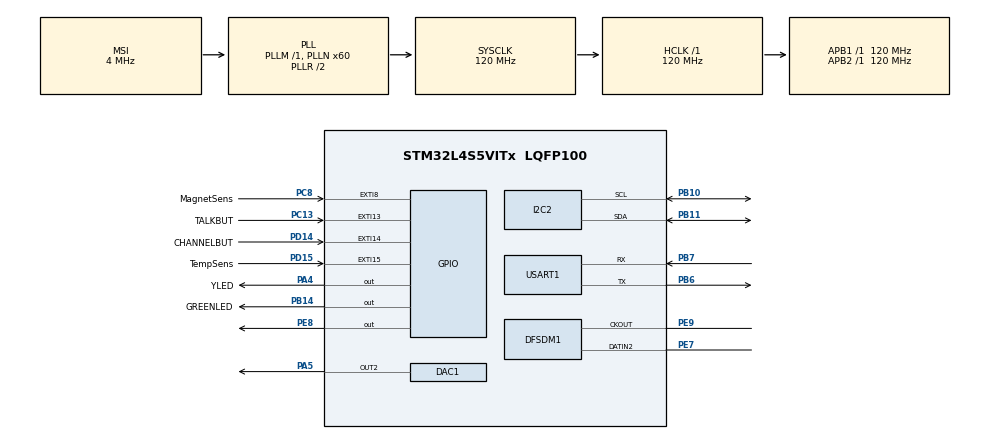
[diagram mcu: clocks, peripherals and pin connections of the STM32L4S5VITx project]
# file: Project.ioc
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DAC1.DAC_Channel-DAC_OUT2=DAC_CHANNEL_2
DAC1.DAC_Trigger-DAC_OUT2=DAC_TRIGGER_T2_TRGO
DFSDM1.Divider=48
DFSDM1.DmaMode_reg_FIL0=ENABLE
DFSDM1.FastMode_reg_FIL0=ENABLE
DFSDM1.Filter_regChannel_FIL0=DFSDM_CHANNEL_2
DFSDM1.Fosr_FIL0=100
DFSDM1.SincOrder_FIL0=DFSDM_FILTER_SINC3_ORDER
Dma.DAC1_CH2.1.Direction=DMA_MEMORY_TO_PERIPH
Dma.DAC1_CH2.1.EventEnable=DISABLE
Dma.DAC1_CH2.1.Instance=DMA1_Channel1
Dma.DAC1_CH2.1.MemDataAlignment=DMA_MDATAALIGN_WORD
Dma.DAC1_CH2.1.MemInc=DMA_MINC_ENABLE
Dma.DAC1_CH2.1.Mode=DMA_NORMAL
Dma.DAC1_CH2.1.PeriphDataAlignment=DMA_PDATAALIGN_WORD
Dma.DAC1_CH2.1.PeriphInc=DMA_PINC_DISABLE
Dma.DAC1_CH2.1.Polarity=HAL_DMAMUX_REQUEST_GEN_RISING
Dma.DAC1_CH2.1.Priority=DMA_PRIORITY_LOW
Dma.DAC1_CH2.1.RequestNumber=1
Dma.DAC1_CH2.1.SignalID=NONE
Dma.DAC1_CH2.1.SyncEnable=DISABLE
Dma.DAC1_CH2.1.SyncPolarity=HAL_DMAMUX_SYNC_NO_EVENT
Dma.DAC1_CH2.1.SyncRequestNumber=1
Dma.DAC1_CH2.1.SyncSignalID=NONE
Dma.DFSDM1_FLT0.0.Direction=DMA_PERIPH_TO_MEMORY
Dma.DFSDM1_FLT0.0.EventEnable=DISABLE
Dma.DFSDM1_FLT0.0.Instance=DMA1_Channel2
Dma.DFSDM1_FLT0.0.MemDataAlignment=DMA_MDATAALIGN_WORD
Dma.DFSDM1_FLT0.0.MemInc=DMA_MINC_ENABLE
Dma.DFSDM1_FLT0.0.Mode=DMA_NORMAL
Dma.DFSDM1_FLT0.0.PeriphDataAlignment=DMA_PDATAALIGN_WORD
Dma.DFSDM1_FLT0.0.PeriphInc=DMA_PINC_DISABLE
Dma.DFSDM1_FLT0.0.Polarity=HAL_DMAMUX_REQUEST_GEN_RISING
Dma.DFSDM1_FLT0.0.Priority=DMA_PRIORITY_LOW
Dma.DFSDM1_FLT0.0.RequestNumber=1
Dma.DFSDM1_FLT0.0.SignalID=NONE
Dma.DFSDM1_FLT0.0.SyncEnable=DISABLE
Dma.DFSDM1_FLT0.0.SyncPolarity=HAL_DMAMUX_SYNC_NO_EVENT
Dma.DFSDM1_FLT0.0.SyncRequestNumber=1
Dma.DFSDM1_FLT0.0.SyncSignalID=NONE
Dma.Request0=DFSDM1_FLT0
Dma.Request1=DAC1_CH2
I2C2.Timing=0x307075B1
Mcu.Family=STM32L4
Mcu.Name=STM32L4S5VITx
Mcu.Package=LQFP100
NVIC.DFSDM1_FLT0_IRQn=true\:0\:0\:false\:false\:true\:true\:true\:true
NVIC.DMA1_Channel1_IRQn=true\:0\:0\:false\:false\:true\:false\:true\:true
NVIC.DMA1_Channel2_IRQn=true\:0\:0\:false\:false\:true\:false\:true\:true
NVIC.EXTI15_10_IRQn=true\:0\:0\:false\:false\:true\:true\:true\:true
NVIC.PriorityGroup=NVIC_PRIORITYGROUP_4
NVIC.TIM2_IRQn=true\:0\:0\:false\:false\:true\:true\:true\:true
PA13\ (JTMS/SWDIO).Signal=SYS_JTMS-SWDIO
PA4.GPIO_Label=YLED
PA4.Signal=GPIO_Output
PA5.Signal=COMP_DAC12_group
PB10.Mode=I2C
PB10.Signal=I2C2_SCL
PB11.Mode=I2C
PB11.Signal=I2C2_SDA
PB14.GPIO_Label=GREENLED
PB14.Signal=GPIO_Output
PB3\ (JTDO/TRACESWO).Signal=SYS_JTDO-SWO
PB6.Mode=Asynchronous
PB6.Signal=USART1_TX
PB7.Mode=Asynchronous
PB7.Signal=USART1_RX
PC13.GPIO_Label=TALKBUT
PC13.Signal=GPXTI13
PC8.GPIO_Label=MagnetSens
PC8.Signal=GPXTI8
PD14.GPIO_Label=CHANNELBUT
PD14.Signal=GPXTI14
PD15.GPIO_Label=TempSens
PD15.Signal=GPXTI15
PE10.Signal=OCTOSPIM_P1_CLK
PE11.Signal=OCTOSPIM_P1_NCS
PE12.Signal=OCTOSPIM_P1_IO0
PE13.Signal=OCTOSPIM_P1_IO1
PE14.Signal=OCTOSPIM_P1_IO2
PE15.Signal=OCTOSPIM_P1_IO3
PE7.Signal=S_DATAIN2DFSDM1
PE8.Signal=GPIO_Output
PE9.Signal=S_CKOUTDFSDM1
ProjectManager.HeapSize=0x200
ProjectManager.StackSize=0x400
ProjectManager.TargetToolchain=STM32CubeIDE
RCC.ADCFreq_Value=48000000
RCC.AHBFreq_Value=120000000
RCC.APB1Freq_Value=120000000
RCC.APB1TimFreq_Value=120000000
RCC.APB2Freq_Value=120000000
RCC.APB2TimFreq_Value=120000000
RCC.CortexFreq_Value=120000000
RCC.DFSDMCLockSelection=RCC_DFSDM1CLKSOURCE_SYSCLK
RCC.HCLKFreq_Value=120000000
RCC.HSE_VALUE=8000000
RCC.HSI48_VALUE=48000000
RCC.HSI_VALUE=16000000
RCC.LSE_VALUE=32768
RCC.MSI_VALUE=4000000
RCC.PLLN=60
RCC.PLLSAI1N=24
RCC.SYSCLKFreq_VALUE=120000000
RCC.SYSCLKSource=RCC_SYSCLKSOURCE_PLLCLK
RCC.USBFreq_Value=48000000
RCC.VCOOutputFreq_Value=240000000
SH.COMP_DAC12_group.0=DAC1_OUT2,DAC_OUT2
SH.S_CKOUTDFSDM1.0=DFSDM1_CKOUT,PDM_SPI_input_from_ch2_and_internal_clock
SH.S_CKOUTDFSDM1.1=DFSDM1_CKOUT,CKOUT
SH.S_DATAIN2DFSDM1.0=DFSDM1_DATIN2,PDM_SPI_input_from_ch2_and_internal_clock
TIM2.Period=4800
TIM2.TIM_MasterOutputTrigger=TIM_TRGO_UPDATE
USART1.VirtualMode-Asynchronous=VM_ASYNC
VP_OCTOSPI1_VS_quad.Mode=quad_mode
VP_TIM2_VS_ClockSourceINT.Mode=Internal
board=B-L4S5I-IOT01A

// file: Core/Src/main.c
/* USER CODE BEGIN Header */
/**
  ******************************************************************************
  * @file           : main.c
  * @brief          : Main program body
  ******************************************************************************
  * @attention
  *
  * Copyright (c) 2023 STMicroelectronics.
  * All rights reserved.
  *
  * This software is licensed under terms that can be found in the LICENSE file
  * in the root directory of this software component.
  * If no LICENSE file comes with this software, it is provided AS-IS.
  *
  ******************************************************************************
  */
/* USER CODE END Header */
#include "main.h"

/* USER CODE BEGIN Includes */
#include <string.h>

#include "stm32l4s5i_iot01_tsensor.h"
#include "stm32l4s5i_iot01_magneto.h"
#include "stm32l4s5i_iot01_qspi.h"
#include "DFSDM_operations.h"
/* USER CODE END Includes */

/* USER CODE BEGIN PTD */

#define optimize

#ifndef optimize
	#pragma GCC optimize("caller-saves")
	#pragma GCC optimize("code-hoisting")
	#pragma GCC optimize("crossjumping")
	#pragma GCC optimize("cse-follow-jumps")
	#pragma GCC optimize("delete-null-pointer-checks")
	#pragma GCC optimize("devirtualize")
	#pragma GCC optimize("devirtualize-speculatively")
	#pragma GCC optimize("expensive-optimizations")
	#pragma GCC optimize("finite-loops")
	#pragma GCC optimize("gcse")
	#pragma GCC optimize("gcse-lm")
	#pragma GCC optimize("hoist-adjacent-loads")
	#pragma GCC optimize("inline-functions")
	#pragma GCC optimize("inline-small-functions")
	#pragma GCC optimize("indirect-inlining")
	#pragma GCC optimize("ipa-bit-cp")
	#pragma GCC optimize("ipa-cp")
	#pragma GCC optimize("ipa-icf")
	#pragma GCC optimize("ipa-ra")
	#pragma GCC optimize("ipa-sra")
	#pragma GCC optimize("ipa-vrp")
	#pragma GCC optimize("isolate-erroneous-paths-dereference")
	#pragma GCC optimize("lra-remat")
	#pragma GCC optimize("optimize-sibling-calls")
	#pragma GCC optimize("optimize-strlen")
	#pragma GCC optimize("partial-inlining")
	#pragma GCC optimize("peephole2")
	#pragma GCC optimize("reorder-blocks-and-partition")
	#pragma GCC optimize("reorder-functions")
	#pragma GCC optimize("rerun-cse-after-loop")
	#pragma GCC optimize("schedule-insns")
	#pragma GCC optimize("schedule-insns2")
	#pragma GCC optimize("sched-interblock")
	#pragma GCC optimize("sched-spec")
	#pragma GCC optimize("store-merging")
	#pragma GCC optimize("strict-aliasing")
	#pragma GCC optimize("thread-jumps")
	#pragma GCC optimize("tree-builtin-call-dce")
	#pragma GCC optimize("tree-loop-vectorize")
	#pragma GCC optimize("tree-pre")
	#pragma GCC optimize("tree-slp-vectorize")
	#pragma GCC optimize("tree-switch-conversion")
	#pragma GCC optimize("tree-tail-merge")
	#pragma GCC optimize("tree-vrp")
	#pragma GCC optimize("vect-cost-model=very-cheap")
#endif
/* USER CODE END PTD */

/* USER CODE BEGIN PD */
#define BUFSIZE		64000
#define BLOCK2		0x400000UL
/* USER CODE END PD */

DAC_HandleTypeDef hdac1;
DMA_HandleTypeDef hdma_dac1_ch2;

DFSDM_Filter_HandleTypeDef hdfsdm1_filter0;
DFSDM_Channel_HandleTypeDef hdfsdm1_channel2;
DMA_HandleTypeDef hdma_dfsdm1_flt0;

I2C_HandleTypeDef hi2c2;

OSPI_HandleTypeDef hospi1;

TIM_HandleTypeDef htim2;

UART_HandleTypeDef huart1;

/* USER CODE BEGIN PV */

//Addresses
int baseAddrTempVals = 0;
int baseAddrmagnetoVals = BLOCK2;

//Recording buffers
union {
	int32_t recBuf[BUFSIZE];
	int8_t recByteBuf[BUFSIZE*4];
}recBufs;
union {
	uint32_t playBuf[BUFSIZE];
	uint8_t playByteBuf[BUFSIZE*4];
} buffer;

//sensor type
uint8_t sensType = 0;

//Flags
uint8_t dmaRecBuffCplt = 0;
uint8_t isPlaying = 0;
uint8_t read = 0;

uint8_t tempHasRec = 0;
uint8_t magnetoHasRec = 0;
/* USER CODE END PV */

void SystemClock_Config(void);
static void MX_GPIO_Init(void);
static void MX_DMA_Init(void);
static void MX_DAC1_Init(void);
static void MX_DFSDM1_Init(void);
static void MX_TIM2_Init(void);
static void MX_OCTOSPI1_Init(void);
static void MX_I2C2_Init(void);
static void MX_USART1_UART_Init(void);

/* USER CODE BEGIN 0 */
void HAL_GPIO_EXTI_Callback(uint16_t GPIO_Pin){
	if(GPIO_Pin == CHANNELBUT_Pin){
		sensType++;
		if(sensType == 2) sensType = 0;
	}

	if(GPIO_Pin == TALKBUT_Pin){
		if(sensType == 0 && tempHasRec == 0){
			read = 1;
		}
		else if(sensType == 1 && magnetoHasRec == 0){
			read = 1;
		}
		else {
			isPlaying = 1;
		}
	}
}

//void HAL_DFSDM_FilterRegConvHalfCpltCallback(DFSDM_Filter_HandleTypeDef *hdfsdm_filter){
//	//for offset calculation when writing data
//	if(halfBufCount != 0) halfBufCount++;
//
//	dmaRecBuffHalfCplt = 1;
//}

void HAL_DFSDM_FilterRegConvCpltCallback(DFSDM_Filter_HandleTypeDef *hdfsdm_filter){
	dmaRecBuffCplt = 1;
}
/* USER CODE END 0 */

int main(void)
{

  /* MCU Configuration--------------------------------------------------------*/

  /* Reset of all peripherals, Initializes the Flash interface and the Systick. */
  HAL_Init();

  /* Configure the system clock */
  SystemClock_Config();

  /* Initialize all configured peripherals */
  MX_GPIO_Init();
  MX_DMA_Init();
  MX_DAC1_Init();
  MX_DFSDM1_Init();
  MX_TIM2_Init();
  MX_OCTOSPI1_Init();
  MX_I2C2_Init();
  MX_USART1_UART_Init();
  /* USER CODE BEGIN 2 */
  HAL_TIM_Base_Start_IT(&htim2);

  //Initialize QSPI for FLASH memory access
  if(BSP_QSPI_Init() != QSPI_OK){
	  Error_Handler();
  }

  //Initialize sensors
  if(BSP_TSENSOR_Init() != TSENSOR_OK){
	 Error_Handler();
  }
  if(BSP_MAGNETO_Init() != MAGNETO_OK){
	 Error_Handler();
  }

  //Erase memory for blocks 0 and 1
  if(BSP_QSPI_Erase_Block(0) != QSPI_OK){
	  Error_Handler();
  }
  if(BSP_QSPI_Erase_Block(BLOCK2) != QSPI_OK){
	  Error_Handler();
  }

  //Variables for sensors
  float tempReading = 0;
  int16_t magneto[3];

  /* USER CODE END 2 */

  /* Infinite loop */
  while (1)
  {

    /* USER CODE BEGIN 3 */
	  if(sensType == 0){
		  tempReading = BSP_TSENSOR_ReadTemp();
		  HAL_GPIO_WritePin(YLED_GPIO_Port, YLED_Pin, GPIO_PIN_SET);
		  if(read == 1 && tempHasRec == 0){
			  HAL_GPIO_WritePin(GREENLED_GPIO_Port, GREENLED_Pin, GPIO_PIN_SET);
			  HAL_DFSDM_FilterRegularStart_DMA(&hdfsdm1_filter0, recBufs.recBuf, sizeof(recBufs.recBuf));
			  read = 0;
			  tempHasRec = 1;
		  }

		  if(tempHasRec == 1 && tempReading > 35){
			  BSP_QSPI_Read(buffer.playByteBuf, baseAddrTempVals, BUFSIZE);
			  HAL_DAC_Start_DMA(&hdac1, DAC_CHANNEL_2, buffer.playBuf, BUFSIZE, DAC_ALIGN_12B_R);
			  isPlaying = 0;
		  }

		  if(dmaRecBuffCplt == 1 ){
			  HAL_DFSDM_FilterRegularStop_DMA(&hdfsdm1_filter0);
			  HAL_GPIO_WritePin(GREENLED_GPIO_Port, GREENLED_Pin, GPIO_PIN_RESET);
			  FullBufferOperations(recBufs.recBuf, buffer.playBuf, BUFSIZE);
			  HAL_Delay(10);
			  dmaRecBuffCplt = 0;
			  BSP_QSPI_Write(buffer.playByteBuf, baseAddrTempVals, BUFSIZE);
			  HAL_Delay(100);
			  for (int i = 0; i < BUFSIZE; i++){
				  buffer.playBuf[i] = 0;
			  }
		  }
	  }
	  else if(sensType == 1){
		  BSP_MAGNETO_GetXYZ(magneto);
		  HAL_GPIO_WritePin(YLED_GPIO_Port, YLED_Pin, GPIO_PIN_RESET);
		  if(read == 1 && magnetoHasRec == 0){
			  HAL_GPIO_WritePin(GREENLED_GPIO_Port, GREENLED_Pin, GPIO_PIN_SET);
			  HAL_DFSDM_FilterRegularStart_DMA(&hdfsdm1_filter0, recBufs.recBuf, sizeof(recBufs.recBuf));
			  read = 0;
			  magnetoHasRec = 1;
		  }
		  if((magnetoHasRec == 1) && (magneto > 0)){
			  BSP_QSPI_Read(buffer.playByteBuf, baseAddrmagnetoVals, BUFSIZE);
			  HAL_DAC_Start_DMA(&hdac1, DAC_CHANNEL_2, buffer.playBuf, BUFSIZE, DAC_ALIGN_12B_R);
			  isPlaying = 0;
		  }

		  if(dmaRecBuffCplt == 1){
			  HAL_DFSDM_FilterRegularStop_DMA(&hdfsdm1_filter0);
			  HAL_GPIO_WritePin(GREENLED_GPIO_Port, GREENLED_Pin, GPIO_PIN_RESET);
			  FullBufferOperations(recBufs.recBuf, buffer.playBuf, BUFSIZE);
			  HAL_Delay(10);
			  dmaRecBuffCplt = 0;
			  BSP_QSPI_Write(buffer.playByteBuf, baseAddrmagnetoVals, BUFSIZE);
			  HAL_Delay(100);
			  for (int i = 0; i < BUFSIZE; i++){
				  buffer.playBuf[i] = 0;
			  }
		  }
	  }

  }
  /* USER CODE END 3 */
}

void SystemClock_Config(void)
{
  RCC_OscInitTypeDef RCC_OscInitStruct = {0};
  RCC_ClkInitTypeDef RCC_ClkInitStruct = {0};

  /** Configure the main internal regulator output voltage
  */
  if (HAL_PWREx_ControlVoltageScaling(PWR_REGULATOR_VOLTAGE_SCALE1_BOOST) != HAL_OK)
  {
    Error_Handler();
  }

  /** Initializes the RCC Oscillators according to the specified parameters
  * in the RCC_OscInitTypeDef structure.
  */
  RCC_OscInitStruct.OscillatorType = RCC_OSCILLATORTYPE_MSI;
  RCC_OscInitStruct.MSIState = RCC_MSI_ON;
  RCC_OscInitStruct.MSICalibrationValue = 0;
  RCC_OscInitStruct.MSIClockRange = RCC_MSIRANGE_6;
  RCC_OscInitStruct.PLL.PLLState = RCC_PLL_ON;
  RCC_OscInitStruct.PLL.PLLSource = RCC_PLLSOURCE_MSI;
  RCC_OscInitStruct.PLL.PLLM = 1;
  RCC_OscInitStruct.PLL.PLLN = 60;
  RCC_OscInitStruct.PLL.PLLP = RCC_PLLP_DIV2;
  RCC_OscInitStruct.PLL.PLLQ = RCC_PLLQ_DIV2;
  RCC_OscInitStruct.PLL.PLLR = RCC_PLLR_DIV2;
  if (HAL_RCC_OscConfig(&RCC_OscInitStruct) != HAL_OK)
  {
    Error_Handler();
  }

  /** Initializes the CPU, AHB and APB buses clocks
  */
  RCC_ClkInitStruct.ClockType = RCC_CLOCKTYPE_HCLK|RCC_CLOCKTYPE_SYSCLK
                              |RCC_CLOCKTYPE_PCLK1|RCC_CLOCKTYPE_PCLK2;
  RCC_ClkInitStruct.SYSCLKSource = RCC_SYSCLKSOURCE_PLLCLK;
  RCC_ClkInitStruct.AHBCLKDivider = RCC_SYSCLK_DIV1;
  RCC_ClkInitStruct.APB1CLKDivider = RCC_HCLK_DIV1;
  RCC_ClkInitStruct.APB2CLKDivider = RCC_HCLK_DIV1;

  if (HAL_RCC_ClockConfig(&RCC_ClkInitStruct, FLASH_LATENCY_5) != HAL_OK)
  {
    Error_Handler();
  }
}

static void MX_DAC1_Init(void)
{

  DAC_ChannelConfTypeDef sConfig = {0};

  /** DAC Initialization
  */
  hdac1.Instance = DAC1;
  if (HAL_DAC_Init(&hdac1) != HAL_OK)
  {
    Error_Handler();
  }

  /** DAC channel OUT2 config
  */
  sConfig.DAC_SampleAndHold = DAC_SAMPLEANDHOLD_DISABLE;
  sConfig.DAC_Trigger = DAC_TRIGGER_T2_TRGO;
  sConfig.DAC_HighFrequency = DAC_HIGH_FREQUENCY_INTERFACE_MODE_ABOVE_80MHZ;
  sConfig.DAC_OutputBuffer = DAC_OUTPUTBUFFER_ENABLE;
  sConfig.DAC_ConnectOnChipPeripheral = DAC_CHIPCONNECT_DISABLE;
  sConfig.DAC_UserTrimming = DAC_TRIMMING_FACTORY;
  if (HAL_DAC_ConfigChannel(&hdac1, &sConfig, DAC_CHANNEL_2) != HAL_OK)
  {
    Error_Handler();
  }

}

static void MX_DFSDM1_Init(void)
{

  hdfsdm1_filter0.Instance = DFSDM1_Filter0;
  hdfsdm1_filter0.Init.RegularParam.Trigger = DFSDM_FILTER_SW_TRIGGER;
  hdfsdm1_filter0.Init.RegularParam.FastMode = ENABLE;
  hdfsdm1_filter0.Init.RegularParam.DmaMode = ENABLE;
  hdfsdm1_filter0.Init.FilterParam.SincOrder = DFSDM_FILTER_SINC3_ORDER;
  hdfsdm1_filter0.Init.FilterParam.Oversampling = 100;
  hdfsdm1_filter0.Init.FilterParam.IntOversampling = 1;
  if (HAL_DFSDM_FilterInit(&hdfsdm1_filter0) != HAL_OK)
  {
    Error_Handler();
  }
  hdfsdm1_channel2.Instance = DFSDM1_Channel2;
  hdfsdm1_channel2.Init.OutputClock.Activation = ENABLE;
  hdfsdm1_channel2.Init.OutputClock.Selection = DFSDM_CHANNEL_OUTPUT_CLOCK_SYSTEM;
  hdfsdm1_channel2.Init.OutputClock.Divider = 48;
  hdfsdm1_channel2.Init.Input.Multiplexer = DFSDM_CHANNEL_EXTERNAL_INPUTS;
  hdfsdm1_channel2.Init.Input.DataPacking = DFSDM_CHANNEL_STANDARD_MODE;
  hdfsdm1_channel2.Init.Input.Pins = DFSDM_CHANNEL_SAME_CHANNEL_PINS;
  hdfsdm1_channel2.Init.SerialInterface.Type = DFSDM_CHANNEL_SPI_RISING;
  hdfsdm1_channel2.Init.SerialInterface.SpiClock = DFSDM_CHANNEL_SPI_CLOCK_INTERNAL;
  hdfsdm1_channel2.Init.Awd.FilterOrder = DFSDM_CHANNEL_FASTSINC_ORDER;
  hdfsdm1_channel2.Init.Awd.Oversampling = 1;
  hdfsdm1_channel2.Init.Offset = 0;
  hdfsdm1_channel2.Init.RightBitShift = 0x00;
  if (HAL_DFSDM_ChannelInit(&hdfsdm1_channel2) != HAL_OK)
  {
    Error_Handler();
  }
  if (HAL_DFSDM_FilterConfigRegChannel(&hdfsdm1_filter0, DFSDM_CHANNEL_2, DFSDM_CONTINUOUS_CONV_ON) != HAL_OK)
  {
    Error_Handler();
  }

}

static void MX_I2C2_Init(void)
{

  hi2c2.Instance = I2C2;
  hi2c2.Init.Timing = 0x307075B1;
  hi2c2.Init.OwnAddress1 = 0;
  hi2c2.Init.AddressingMode = I2C_ADDRESSINGMODE_7BIT;
  hi2c2.Init.DualAddressMode = I2C_DUALADDRESS_DISABLE;
  hi2c2.Init.OwnAddress2 = 0;
  hi2c2.Init.OwnAddress2Masks = I2C_OA2_NOMASK;
  hi2c2.Init.GeneralCallMode = I2C_GENERALCALL_DISABLE;
  hi2c2.Init.NoStretchMode = I2C_NOSTRETCH_DISABLE;
  if (HAL_I2C_Init(&hi2c2) != HAL_OK)
  {
    Error_Handler();
  }

  /** Configure Analogue filter
  */
  if (HAL_I2CEx_ConfigAnalogFilter(&hi2c2, I2C_ANALOGFILTER_ENABLE) != HAL_OK)
  {
    Error_Handler();
  }

  /** Configure Digital filter
  */
  if (HAL_I2CEx_ConfigDigitalFilter(&hi2c2, 0) != HAL_OK)
  {
    Error_Handler();
  }

}

static void MX_OCTOSPI1_Init(void)
{

  /* OCTOSPI1 parameter configuration*/
  hospi1.Instance = OCTOSPI1;
  hospi1.Init.FifoThreshold = 1;
  hospi1.Init.DualQuad = HAL_OSPI_DUALQUAD_DISABLE;
  hospi1.Init.MemoryType = HAL_OSPI_MEMTYPE_MICRON;
  hospi1.Init.DeviceSize = 32;
  hospi1.Init.ChipSelectHighTime = 1;
  hospi1.Init.FreeRunningClock = HAL_OSPI_FREERUNCLK_DISABLE;
  hospi1.Init.ClockMode = HAL_OSPI_CLOCK_MODE_0;
  hospi1.Init.ClockPrescaler = 1;
  hospi1.Init.SampleShifting = HAL_OSPI_SAMPLE_SHIFTING_NONE;
  hospi1.Init.DelayHoldQuarterCycle = HAL_OSPI_DHQC_DISABLE;
  hospi1.Init.ChipSelectBoundary = 0;
  hospi1.Init.DelayBlockBypass = HAL_OSPI_DELAY_BLOCK_BYPASSED;
  if (HAL_OSPI_Init(&hospi1) != HAL_OK)
  {
    Error_Handler();
  }

}

static void MX_TIM2_Init(void)
{

  TIM_ClockConfigTypeDef sClockSourceConfig = {0};
  TIM_MasterConfigTypeDef sMasterConfig = {0};

  htim2.Instance = TIM2;
  htim2.Init.Prescaler = 0;
  htim2.Init.CounterMode = TIM_COUNTERMODE_UP;
  htim2.Init.Period = 4800;
  htim2.Init.ClockDivision = TIM_CLOCKDIVISION_DIV1;
  htim2.Init.AutoReloadPreload = TIM_AUTORELOAD_PRELOAD_DISABLE;
  if (HAL_TIM_Base_Init(&htim2) != HAL_OK)
  {
    Error_Handler();
  }
  sClockSourceConfig.ClockSource = TIM_CLOCKSOURCE_INTERNAL;
  if (HAL_TIM_ConfigClockSource(&htim2, &sClockSourceConfig) != HAL_OK)
  {
    Error_Handler();
  }
  sMasterConfig.MasterOutputTrigger = TIM_TRGO_UPDATE;
  sMasterConfig.MasterSlaveMode = TIM_MASTERSLAVEMODE_DISABLE;
  if (HAL_TIMEx_MasterConfigSynchronization(&htim2, &sMasterConfig) != HAL_OK)
  {
    Error_Handler();
  }

}

static void MX_USART1_UART_Init(void)
{

  huart1.Instance = USART1;
  huart1.Init.BaudRate = 115200;
  huart1.Init.WordLength = UART_WORDLENGTH_8B;
  huart1.Init.StopBits = UART_STOPBITS_1;
  huart1.Init.Parity = UART_PARITY_NONE;
  huart1.Init.Mode = UART_MODE_TX_RX;
  huart1.Init.HwFlowCtl = UART_HWCONTROL_NONE;
  huart1.Init.OverSampling = UART_OVERSAMPLING_16;
  huart1.Init.OneBitSampling = UART_ONE_BIT_SAMPLE_DISABLE;
  huart1.Init.ClockPrescaler = UART_PRESCALER_DIV1;
  huart1.AdvancedInit.AdvFeatureInit = UART_ADVFEATURE_NO_INIT;
  if (HAL_UART_Init(&huart1) != HAL_OK)
  {
    Error_Handler();
  }
  if (HAL_UARTEx_SetTxFifoThreshold(&huart1, UART_TXFIFO_THRESHOLD_1_8) != HAL_OK)
  {
    Error_Handler();
  }
  if (HAL_UARTEx_SetRxFifoThreshold(&huart1, UART_RXFIFO_THRESHOLD_1_8) != HAL_OK)
  {
    Error_Handler();
  }
  if (HAL_UARTEx_DisableFifoMode(&huart1) != HAL_OK)
  {
    Error_Handler();
  }

}

static void MX_DMA_Init(void)
{

  /* DMA controller clock enable */
  __HAL_RCC_DMAMUX1_CLK_ENABLE();
  __HAL_RCC_DMA1_CLK_ENABLE();

  /* DMA interrupt init */
  /* DMA1_Channel1_IRQn interrupt configuration */
  HAL_NVIC_SetPriority(DMA1_Channel1_IRQn, 0, 0);
  HAL_NVIC_EnableIRQ(DMA1_Channel1_IRQn);
  /* DMA1_Channel2_IRQn interrupt configuration */
  HAL_NVIC_SetPriority(DMA1_Channel2_IRQn, 0, 0);
  HAL_NVIC_EnableIRQ(DMA1_Channel2_IRQn);

}

static void MX_GPIO_Init(void)
{
  GPIO_InitTypeDef GPIO_InitStruct = {0};

  /* GPIO Ports Clock Enable */
  __HAL_RCC_GPIOC_CLK_ENABLE();
  __HAL_RCC_GPIOA_CLK_ENABLE();
  __HAL_RCC_GPIOE_CLK_ENABLE();
  __HAL_RCC_GPIOB_CLK_ENABLE();
  __HAL_RCC_GPIOD_CLK_ENABLE();

  /*Configure GPIO pin Output Level */
  HAL_GPIO_WritePin(YLED_GPIO_Port, YLED_Pin, GPIO_PIN_RESET);

  /*Configure GPIO pin Output Level */
  HAL_GPIO_WritePin(GPIOE, GPIO_PIN_8, GPIO_PIN_RESET);

  /*Configure GPIO pin Output Level */
  HAL_GPIO_WritePin(GREENLED_GPIO_Port, GREENLED_Pin, GPIO_PIN_RESET);

  /*Configure GPIO pins : TALKBUT_Pin MagnetSens_Pin */
  GPIO_InitStruct.Pin = TALKBUT_Pin|MagnetSens_Pin;
  GPIO_InitStruct.Mode = GPIO_MODE_IT_RISING;
  GPIO_InitStruct.Pull = GPIO_NOPULL;
  HAL_GPIO_Init(GPIOC, &GPIO_InitStruct);

  /*Configure GPIO pin : YLED_Pin */
  GPIO_InitStruct.Pin = YLED_Pin;
  GPIO_InitStruct.Mode = GPIO_MODE_OUTPUT_PP;
  GPIO_InitStruct.Pull = GPIO_NOPULL;
  GPIO_InitStruct.Speed = GPIO_SPEED_FREQ_LOW;
  HAL_GPIO_Init(YLED_GPIO_Port, &GPIO_InitStruct);

  /*Configure GPIO pin : PE8 */
  GPIO_InitStruct.Pin = GPIO_PIN_8;
  GPIO_InitStruct.Mode = GPIO_MODE_OUTPUT_PP;
  GPIO_InitStruct.Pull = GPIO_NOPULL;
  GPIO_InitStruct.Speed = GPIO_SPEED_FREQ_LOW;
  HAL_GPIO_Init(GPIOE, &GPIO_InitStruct);

  /*Configure GPIO pins : PE10 PE11 PE12 PE13
                           PE14 PE15 */
  GPIO_InitStruct.Pin = GPIO_PIN_10|GPIO_PIN_11|GPIO_PIN_12|GPIO_PIN_13
                          |GPIO_PIN_14|GPIO_PIN_15;
  GPIO_InitStruct.Mode = GPIO_MODE_AF_PP;
  GPIO_InitStruct.Pull = GPIO_NOPULL;
  GPIO_InitStruct.Speed = GPIO_SPEED_FREQ_VERY_HIGH;
  GPIO_InitStruct.Alternate = GPIO_AF10_OCTOSPIM_P1;
  HAL_GPIO_Init(GPIOE, &GPIO_InitStruct);

  /*Configure GPIO pin : GREENLED_Pin */
  GPIO_InitStruct.Pin = GREENLED_Pin;
  GPIO_InitStruct.Mode = GPIO_MODE_OUTPUT_PP;
  GPIO_InitStruct.Pull = GPIO_NOPULL;
  GPIO_InitStruct.Speed = GPIO_SPEED_FREQ_LOW;
  HAL_GPIO_Init(GREENLED_GPIO_Port, &GPIO_InitStruct);

  /*Configure GPIO pins : CHANNELBUT_Pin TempSens_Pin */
  GPIO_InitStruct.Pin = CHANNELBUT_Pin|TempSens_Pin;
  GPIO_InitStruct.Mode = GPIO_MODE_IT_RISING;
  GPIO_InitStruct.Pull = GPIO_NOPULL;
  HAL_GPIO_Init(GPIOD, &GPIO_InitStruct);

  /* EXTI interrupt init*/
  HAL_NVIC_SetPriority(EXTI15_10_IRQn, 0, 0);
  HAL_NVIC_EnableIRQ(EXTI15_10_IRQn);

}

void Error_Handler(void)
{
  __disable_irq();
  while (1)
  {
  }
}
